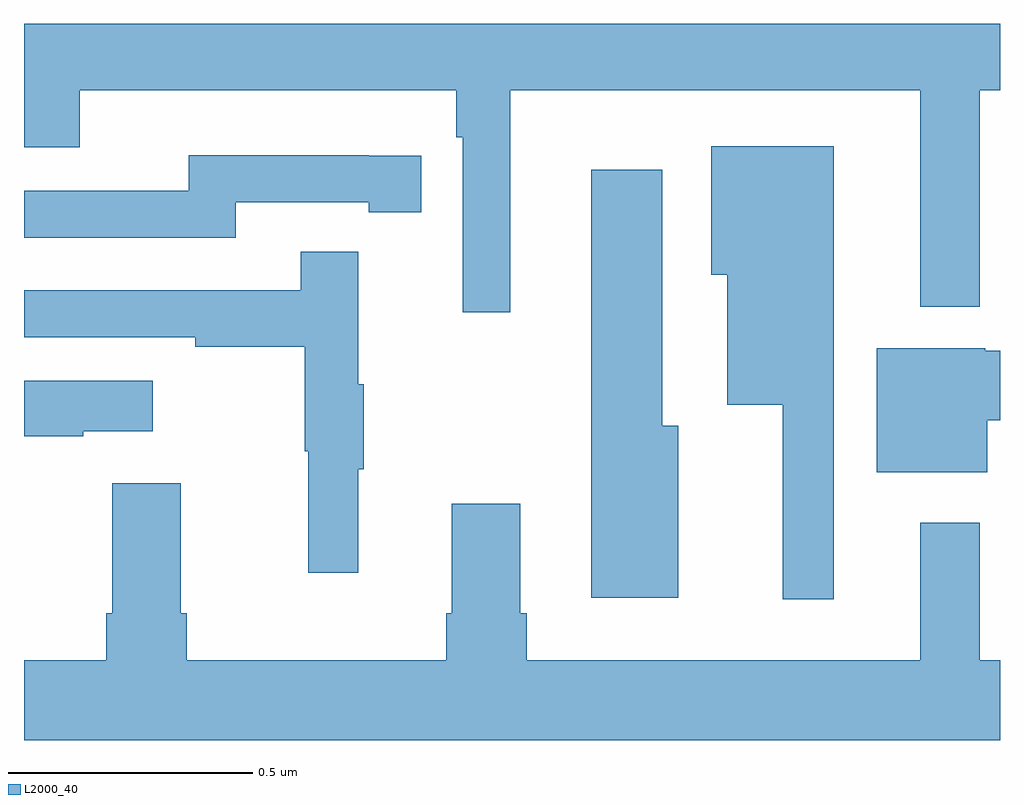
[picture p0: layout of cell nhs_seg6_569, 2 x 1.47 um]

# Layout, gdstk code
import gdstk
lib = gdstk.Library(unit=1e-6, precision=1e-09)
def P(c, l, *ps):  # polygons
    for p in ps: c.add(gdstk.Polygon(p, *l))
L2000_40 = (2000, 40)

nhs_seg6_569 = lib.new_cell('nhs_seg6_569')
P(nhs_seg6_569, L2000_40, [(118.996,919.364),(119.837,919.364),(119.837,918.92),(119.959,918.92),(119.959,919.364),(120,919.364),(120,919.5),(118,919.5),(118,919.247),(118.114,919.247),(118.114,919.364),(118.886,919.364),(118.886,919.268),(118.899,919.268),(118.899,918.909),(118.996,918.909)],
  [(119.659,919.249),(119.408,919.249),(119.408,918.986),(119.441,918.986),(119.441,918.719),(119.555,918.719),(119.555,918.321),(119.659,918.321)],
  [(118.434,919.134),(118.706,919.134),(118.706,919.114),(118.814,919.114),(118.814,919.23),(118.706,919.23),(118.706,919.231),(118.338,919.231),(118.338,919.158),(118,919.158),(118,919.062),(118.434,919.062)],
  [(119.341,918.676),(119.308,918.676),(119.308,919.201),(119.162,919.201),(119.162,918.324),(119.341,918.324)],
  [(118.685,918.587),(118.696,918.587),(118.696,918.761),(118.685,918.761),(118.685,919.033),(118.567,919.033),(118.567,918.954),(118,918.954),(118,918.858),(118.351,918.858),(118.351,918.838),(118.575,918.838),(118.575,918.624),(118.582,918.624),(118.582,918.375),(118.685,918.375)],
  [(119.974,918.688),(120,918.688),(120,918.83),(119.97,918.83),(119.97,918.835),(119.747,918.835),(119.747,918.581),(119.974,918.581)],
  [(118.121,918.665),(118.264,918.665),(118.264,918.769),(118,918.769),(118,918.655),(118.121,918.655)],
  [(120,918.196),(119.959,918.196),(119.959,918.478),(119.837,918.478),(119.837,918.196),(119.03,918.196),(119.03,918.292),(119.017,918.292),(119.017,918.517),(118.877,918.517),(118.877,918.292),(118.865,918.292),(118.865,918.196),(118.334,918.196),(118.334,918.292),(118.321,918.292),(118.321,918.559),(118.181,918.559),(118.181,918.292),(118.169,918.292),(118.169,918.196),(118,918.196),(118,918.032),(120,918.032)])

lib.write_gds('nhs_seg6_569.gds')
